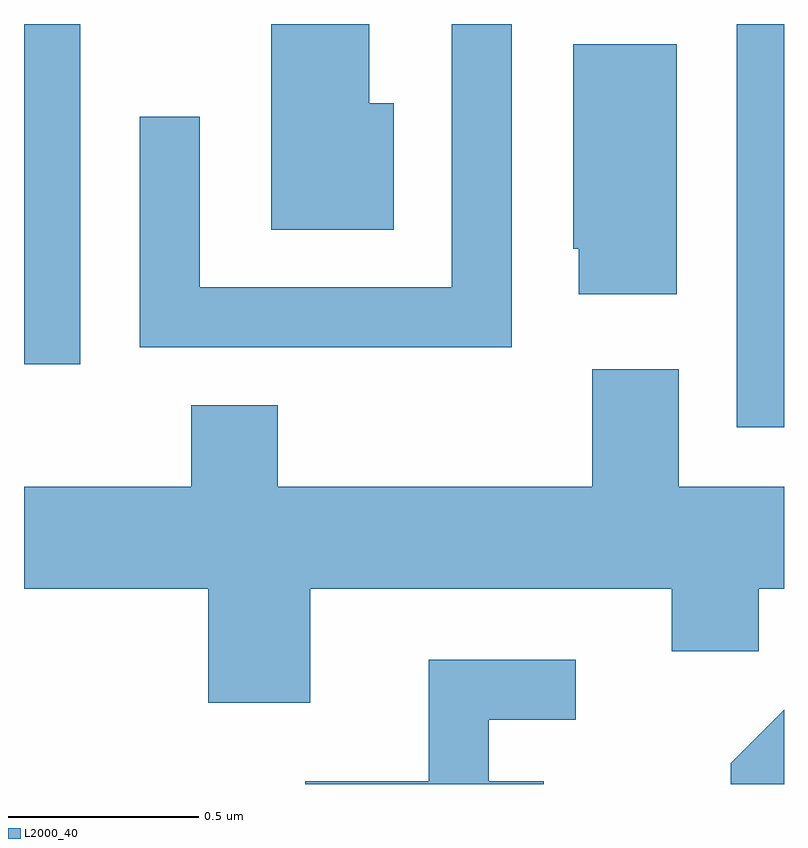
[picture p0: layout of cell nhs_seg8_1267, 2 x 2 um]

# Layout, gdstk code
import gdstk
lib = gdstk.Library(unit=1e-6, precision=1e-09)
def R(c, l, rs):  # rectangles x0, y0, x1, y1
    for r in rs: c.add(gdstk.rectangle(r[:2], r[2:], *l))
def P(c, l, *ps):  # polygons
    for p in ps: c.add(gdstk.Polygon(p, *l))
L2000_40 = (2000, 40)

nhs_seg8_1267 = lib.new_cell('nhs_seg8_1267')
R(nhs_seg8_1267, L2000_40, [(196.486,1841.281,196.611,1842.342), (194.611,1841.446,194.759,1842.342)])
P(nhs_seg8_1267, L2000_40, [(195.894,1842.342),(195.736,1842.342),(195.736,1841.649),(195.074,1841.649),(195.074,1842.098),(194.916,1842.098),(194.916,1841.491),(195.894,1841.491)],
  [(195.584,1842.134),(195.519,1842.134),(195.519,1842.342),(195.261,1842.342),(195.261,1841.801),(195.584,1841.801)],
  [(196.329,1842.289),(196.056,1842.289),(196.056,1841.75),(196.071,1841.75),(196.071,1841.631),(196.329,1841.631)],
  [(195.364,1840.856),(196.316,1840.856),(196.316,1840.691),(196.544,1840.691),(196.544,1840.856),(196.611,1840.856),(196.611,1841.124),(196.334,1841.124),(196.334,1841.434),(196.106,1841.434),(196.106,1841.124),(195.279,1841.124),(195.279,1841.339),(195.051,1841.339),(195.051,1841.124),(194.611,1841.124),(194.611,1840.856),(195.096,1840.856),(195.096,1840.556),(195.364,1840.556)],
  [(195.979,1840.349),(195.834,1840.349),(195.834,1840.511),(196.063,1840.511),(196.063,1840.669),(195.676,1840.669),(195.676,1840.349),(195.351,1840.349),(195.351,1840.342),(195.979,1840.342)],
  [(196.611,1840.537),(196.471,1840.397),(196.471,1840.342),(196.611,1840.342)])

lib.write_gds('nhs_seg8_1267.gds')
